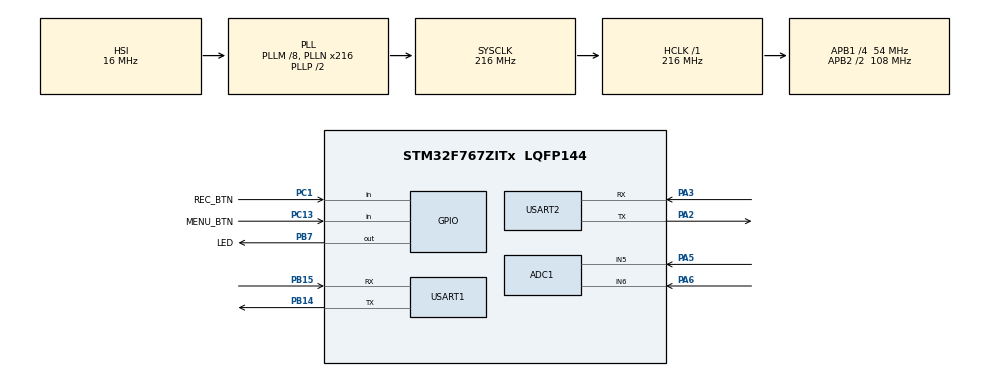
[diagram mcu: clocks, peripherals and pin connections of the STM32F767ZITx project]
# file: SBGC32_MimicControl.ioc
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ADC1.Channel-6\#ChannelRegularConversion=ADC_CHANNEL_5
ADC1.Channel-7\#ChannelRegularConversion=ADC_CHANNEL_6
ADC1.EOCSelection=ADC_EOC_SINGLE_CONV
ADC1.NbrOfConversion=2
ADC1.NbrOfConversionFlag=1
ADC1.Rank-6\#ChannelRegularConversion=1
ADC1.Rank-7\#ChannelRegularConversion=2
ADC1.SamplingTime-6\#ChannelRegularConversion=ADC_SAMPLETIME_480CYCLES
ADC1.SamplingTime-7\#ChannelRegularConversion=ADC_SAMPLETIME_480CYCLES
ADC1.ScanConvMode=ADC_SCAN_ENABLE
ADC1.master=1
Mcu.Family=STM32F7
Mcu.Name=STM32F767ZITx
Mcu.Package=LQFP144
NVIC.ADC_IRQn=true\:3\:0\:true\:false\:true\:true\:true\:true
NVIC.PriorityGroup=NVIC_PRIORITYGROUP_4
NVIC.TIM2_IRQn=true\:5\:0\:true\:false\:true\:true\:true\:true
NVIC.USART1_IRQn=true\:1\:0\:true\:false\:true\:true\:true\:true
PA2.Mode=Asynchronous
PA2.Signal=USART2_TX
PA3.Mode=Asynchronous
PA3.Signal=USART2_RX
PA5.Signal=ADCx_IN5
PA6.Signal=ADCx_IN6
PB14.Mode=Asynchronous
PB14.Signal=USART1_TX
PB15.GPIO_PuPd=GPIO_PULLUP
PB15.Mode=Asynchronous
PB15.Signal=USART1_RX
PB7.GPIO_Label=LED
PB7.Signal=GPIO_Output
PC1.GPIO_Label=REC_BTN
PC1.GPIO_PuPd=GPIO_PULLDOWN
PC1.Signal=GPIO_Input
PC13.GPIO_Label=MENU_BTN
PC13.GPIO_PuPd=GPIO_PULLDOWN
PC13.Signal=GPIO_Input
ProjectManager.HeapSize=0x200
ProjectManager.StackSize=0x400
ProjectManager.TargetToolchain=STM32CubeIDE
RCC.AHBFreq_Value=216000000
RCC.APB1CLKDivider=RCC_HCLK_DIV4
RCC.APB1Freq_Value=54000000
RCC.APB1TimFreq_Value=108000000
RCC.APB2CLKDivider=RCC_HCLK_DIV2
RCC.APB2Freq_Value=108000000
RCC.APB2TimFreq_Value=216000000
RCC.CortexFreq_Value=216000000
RCC.HCLKFreq_Value=216000000
RCC.HSE_VALUE=25000000
RCC.HSI_VALUE=16000000
RCC.LSE_VALUE=32768
RCC.PLLM=8
RCC.PLLN=216
RCC.SYSCLKFreq_VALUE=216000000
RCC.SYSCLKSource=RCC_SYSCLKSOURCE_PLLCLK
RCC.USBFreq_Value=216000000
RCC.VCOOutputFreq_Value=432000000
SH.ADCx_IN5.0=ADC1_IN5,IN5
SH.ADCx_IN6.0=ADC1_IN6,IN6
TIM2.Period=999
TIM2.Prescaler=107
TIM2.TIM_MasterOutputTrigger=TIM_TRGO_UPDATE
USART1.OverSampling=UART_OVERSAMPLING_16
USART1.VirtualMode-Asynchronous=VM_ASYNC
USART2.OverSampling=UART_OVERSAMPLING_8
USART2.VirtualMode-Asynchronous=VM_ASYNC
VP_TIM2_VS_ClockSourceINT.Mode=Internal
board=custom

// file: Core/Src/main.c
/* USER CODE BEGIN Header */
/**
  ******************************************************************************
  * @file           : main.c
  * @brief          : Main program body
  ******************************************************************************
  * @attention
  *
  * <h2><center>&copy; Copyright (c) 2022 STMicroelectronics.
  * All rights reserved.</center></h2>
  *
  * This software component is licensed by ST under BSD 3-Clause license,
  * the "License"; You may not use this file except in compliance with the
  * License. You may obtain a copy of the License at:
  *                        opensource.org/licenses/BSD-3-Clause
  *
  ******************************************************************************
  */
/* USER CODE END Header */
#include "main.h"
#include "adc.h"
#include "tim.h"
#include "usart.h"
#include "gpio.h"

/* USER CODE BEGIN Includes */

#include "app.h"

/* USER CODE END Includes */

void SystemClock_Config(void);

/* USER CODE BEGIN 0 */

/* ‾‾‾‾‾‾‾‾‾‾‾‾‾‾‾‾‾‾‾‾‾‾‾‾‾‾‾‾‾‾‾‾‾‾‾‾‾‾‾‾‾‾‾‾‾‾‾‾‾‾‾‾‾‾‾‾‾‾‾‾‾‾‾‾‾‾ */
/*                       Global Software Objects                      */
/* __________________________________________________________________ */

			sbgcGeneral_t			SBGC32_Device;

static		sbgcControl_t			Control;
static		sbgcControlConfig_t		ControlConfig;

static		sbgcConfirm_t			Confirm;

			InputsInfo_t			InputsInfo;

static		i16 servoOut [SBGC_SERVO_OUTS_NUM] = {	SBGC_SERVO_OUT_DISABLED, SBGC_SERVO_OUT_DISABLED,
													SBGC_SERVO_OUT_DISABLED, SBGC_SERVO_OUT_DISABLED};

static		AverageValue_t JoystickAverage [2];

static		ui32 currentTime;
static		ui32 lastControlTime = 0;
static		ui32 lastButtonTime;

/* USER CODE END 0 */

int main(void)
{

  /* MCU Configuration--------------------------------------------------------*/

  /* Reset of all peripherals, Initializes the Flash interface and the Systick. */
  HAL_Init();

  /* Configure the system clock */
  SystemClock_Config();

  /* Initialize all configured peripherals */
  MX_GPIO_Init();
  MX_TIM2_Init();
  MX_USART1_UART_Init();
  MX_USART2_UART_Init();
  MX_ADC1_Init();
  /* USER CODE BEGIN 2 */

  	InitADC(&InputsInfo, JOYSTICK_ADC);

	/* SimpleBGC32 Init */
	SBGC32_Init(&SBGC32_Device);

	/* Control Configurations */
	Control.mode[PITCH] = CtrlMODE_ANGLE;
	Control.mode[YAW] = CtrlMODE_ANGLE;

	Control.AxisC[PITCH].angle = 0;
	Control.AxisC[YAW].angle = 0;

	#ifdef SET_SPEED

		Control.AxisC[PITCH].speed = SET_SPEED;
		Control.AxisC[YAW].speed = SET_SPEED;

	#endif

	ControlConfig.flags = CtrlCONFIG_FLAG_NO_CONFIRM;

	InputsInfo.recBtn = BTN_RELEASED;
	InputsInfo.menuBtn = BTN_RELEASED;

	AverageInit(&JoystickAverage[0], LOW_PASS_FACTOR);
	AverageInit(&JoystickAverage[1], LOW_PASS_FACTOR);

	servoOut[PWM_SERVO_OUT_IDX] = PWM_CAM_REC_OFF;

	SBGC32_ControlConfig(&SBGC32_Device, &ControlConfig, SBGC_NO_CONFIRM);

	SBGC32_SetServoOut(&SBGC32_Device, servoOut);

  /* USER CODE END 2 */

  /* Infinite loop */
  /* USER CODE BEGIN WHILE */
  while (1)
  {
		/* Getting current time */
		currentTime = sbgcGetTick();

		/* - - - - - - - - - - Joystick Handling - - - - - - - - - - */

		ReadADC_Inputs(&InputsInfo);

		AverageValue(&JoystickAverage[0], (i16)sbgcDegreeToAngle(YAW_ANGLE_MIN) +
			(i16)((i32)InputsInfo.ADC_INx[ADC_JOY_Y] * sbgcDegreeToAngle(YAW_ANGLE_MAX - YAW_ANGLE_MIN) / (1 << ADC_RESOLUTION)));

		AverageValue(&JoystickAverage[1], (i16)sbgcDegreeToAngle(PITCH_ANGLE_MIN) +
			(i16)((i32)InputsInfo.ADC_INx[ADC_JOY_X] * sbgcDegreeToAngle(PITCH_ANGLE_MAX - PITCH_ANGLE_MIN) / (1 << ADC_RESOLUTION)));

		if ((currentTime - lastControlTime ) > CMD_CONTROL_DELAY)
		{
			lastControlTime = currentTime;

			Control.AxisC[PITCH].angle = JoystickAverage[1].avgRes;
			Control.AxisC[YAW].angle = JoystickAverage[0].avgRes;

			SBGC32_Control(&SBGC32_Device, &Control);
			/* SBGC32_CheckConfirmation(&SBGC32_Device, CMD_CONTROL, &Confirm); */
		}

		/*  - - - - - - - - - - Buttons Handling - - - - - - - - - - */
		/* Rec Button - for long press */
		if (ReadButtonState(REC_BTN_PORT, REC_BTN_PIN))
		{
			if (InputsInfo.recBtn != BTN_PRESSED)
			{
				lastButtonTime = currentTime;
				InputsInfo.recBtn = BTN_PRESSED;
			}

			if ((currentTime - lastButtonTime > SOFTWARE_ANTI_BOUNCE))
			{
				servoOut[PWM_SERVO_OUT_IDX] = PWM_CAM_REC_ON;
				SBGC32_SetServoOut(&SBGC32_Device, servoOut);
				DEBUG_LED_ON;
			}
		}

		else if ((currentTime - lastButtonTime > SOFTWARE_ANTI_BOUNCE) &&
				 (InputsInfo.recBtn == BTN_PRESSED))
		{
			servoOut[PWM_SERVO_OUT_IDX] = PWM_CAM_REC_OFF;
			SBGC32_SetServoOut(&SBGC32_Device, servoOut);
			DEBUG_LED_OFF;
			InputsInfo.recBtn = BTN_RELEASED;
		}

		/* Menu Button */
		if (ReadButtonState(MENU_BTN_PORT, MENU_BTN_PIN))
		{
			if (InputsInfo.menuBtn == BTN_RELEASED)
			{
				lastButtonTime = currentTime;
				InputsInfo.menuBtn = BTN_PRESSED;
			}

			if ((currentTime - lastButtonTime > SOFTWARE_ANTI_BOUNCE) &&
				(InputsInfo.menuBtn != BTN_POST_PRESSED))
			{
				SBGC32_ExecuteMenu(&SBGC32_Device, MENU_CMD_BUTTON_PRESS, &Confirm);

				if (SerialAPI_GetConfirmStatus(&Confirm) == sbgcCONFIRM_RECEIVED)
					InputsInfo.menuBtn = BTN_POST_PRESSED;
			}
		}

		else if ((currentTime - lastButtonTime > SOFTWARE_ANTI_BOUNCE) &&
				 (InputsInfo.menuBtn != BTN_RELEASED))
			InputsInfo.menuBtn = BTN_RELEASED;

		/* Make a constant sampling time by inserting a delay of 1 ms */
		while ((sbgcGetTick() - currentTime) < 1);

    /* USER CODE END WHILE */

  }
}

void SystemClock_Config(void)
{
  RCC_OscInitTypeDef RCC_OscInitStruct = {0};
  RCC_ClkInitTypeDef RCC_ClkInitStruct = {0};

  /** Configure the main internal regulator output voltage
  */
  __HAL_RCC_PWR_CLK_ENABLE();
  __HAL_PWR_VOLTAGESCALING_CONFIG(PWR_REGULATOR_VOLTAGE_SCALE1);

  /** Initializes the RCC Oscillators according to the specified parameters
  * in the RCC_OscInitTypeDef structure.
  */
  RCC_OscInitStruct.OscillatorType = RCC_OSCILLATORTYPE_HSI;
  RCC_OscInitStruct.HSIState = RCC_HSI_ON;
  RCC_OscInitStruct.HSICalibrationValue = RCC_HSICALIBRATION_DEFAULT;
  RCC_OscInitStruct.PLL.PLLState = RCC_PLL_ON;
  RCC_OscInitStruct.PLL.PLLSource = RCC_PLLSOURCE_HSI;
  RCC_OscInitStruct.PLL.PLLM = 8;
  RCC_OscInitStruct.PLL.PLLN = 216;
  RCC_OscInitStruct.PLL.PLLP = RCC_PLLP_DIV2;
  RCC_OscInitStruct.PLL.PLLQ = 2;
  RCC_OscInitStruct.PLL.PLLR = 2;
  if (HAL_RCC_OscConfig(&RCC_OscInitStruct) != HAL_OK)
  {
    Error_Handler();
  }

  /** Activate the Over-Drive mode
  */
  if (HAL_PWREx_EnableOverDrive() != HAL_OK)
  {
    Error_Handler();
  }

  /** Initializes the CPU, AHB and APB buses clocks
  */
  RCC_ClkInitStruct.ClockType = RCC_CLOCKTYPE_HCLK|RCC_CLOCKTYPE_SYSCLK
                              |RCC_CLOCKTYPE_PCLK1|RCC_CLOCKTYPE_PCLK2;
  RCC_ClkInitStruct.SYSCLKSource = RCC_SYSCLKSOURCE_PLLCLK;
  RCC_ClkInitStruct.AHBCLKDivider = RCC_SYSCLK_DIV1;
  RCC_ClkInitStruct.APB1CLKDivider = RCC_HCLK_DIV4;
  RCC_ClkInitStruct.APB2CLKDivider = RCC_HCLK_DIV2;

  if (HAL_RCC_ClockConfig(&RCC_ClkInitStruct, FLASH_LATENCY_7) != HAL_OK)
  {
    Error_Handler();
  }
}

/* USER CODE BEGIN 4 */

void SerialAPI_FatalErrorHandler (void)
{
	/* User common error handler */
	__disable_irq();

	while (1);
}

/* USER CODE END 4 */

void Error_Handler(void)
{
  __disable_irq();
  while (1)
  {
  }
}
